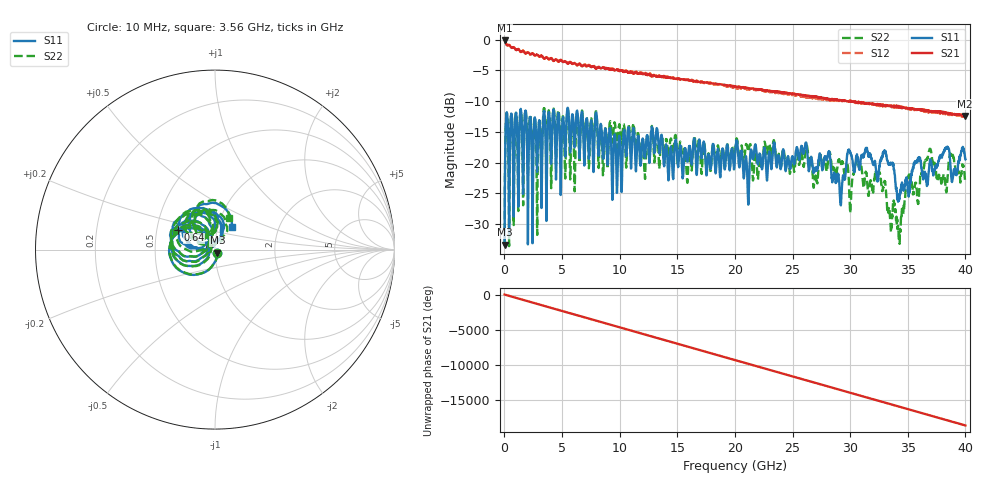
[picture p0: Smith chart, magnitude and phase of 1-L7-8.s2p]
! 2/21/2025 7:00:03 AM
! Z:\OQC\AD5\613\LOT-141-0825\SINGLE\1-L7-8.S2P
! CHANNEL.1
! TR.MEASUREMENT
! CORRECTED.DATA
! RF.CORRECTION: FULL.FOUR.PORT.CAL.PORT.1.2.3.4
! AVERAGING.OFF
! IF.BANDWIDTH: 1KHZ
! SWEEPTYPE:  FREQ.SWEEP(Linear)
! Reference Plane Port Info
! PORT:  PORT1  PORT2
! DISTANCE:  0  m  0  m
! TIME:  0  s  0  s
! PHASE.OFFSET:  0 °  0 °
! LOSS:  0  dB  0  dB
! REF.LOSS:  0  dB  0  dB
! REF.FREQ:  0  Hz  0  Hz
! Power Info
! POWER:  -10  dBm  -10  dBm
! EFF.POWER:  -10  dBm  -10  dBm
! SOURCE.ATTEN:  0  dB  0  dB
! TEST.ATTEN:  0  dB  0  dB
# GHZ S RI R 50.0
! FREQ.GHZ  S11RE  S11IM  S21RE  S21IM  S12RE  S12IM  S22RE  S22IM
!; PortSelection: Port_12
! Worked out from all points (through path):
!   4000 points, 10 MHz to 40 GHz, reference 50 ohm
!   highest |S21| = -0.13 dB at 10 MHz (marker M1); lowest = -12.4 dB at 39.93 GHz (marker M2)
!   group delay of S21, straight-line fit = 1.29 ns
!   lowest |S11| = -33.4 dB at 10 MHz (marker M3), VSWR 1.04, Z = 51.3 - j1.75 ohm
!   |S11| at or under -10 dB: start of sweep to end of sweep
!   |S22| runs from -33.6 to -11.2 dB; largest |S21 - S12| = 0.021
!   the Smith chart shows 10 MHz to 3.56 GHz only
!   S11 on the Smith chart (normalised r, x): 10 MHz: 1.03, -0.04; 640 MHz: 0.64, +0.15; 3.56 GHz: 1.16, +0.30
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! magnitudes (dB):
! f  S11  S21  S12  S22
! 10 MHz  -33.4  -0.1  -0.1  -33.3
! 180 MHz  -12.0  -0.8  -0.8  -12.0
! 640 MHz  -12.6  -1.4  -1.3  -12.5
! 2.97 GHz  -13.8  -2.7  -2.7  -14.0
! 3.56 GHz  -16.0  -2.9  -2.9  -14.3
! 6.68 GHz  -11.9  -4.3  -4.2  -11.8
! 9.55 GHz  -15.4  -5.0  -4.9  -13.5
! 13.34 GHz  -16.2  -6.0  -6.0  -17.3
! 20.01 GHz  -18.9  -7.7  -7.8  -18.5
! 21.06 GHz  -21.6  -7.9  -8.0  -17.5
! 26.67 GHz  -19.6  -9.2  -9.4  -20.1
! 28.09 GHz  -18.4  -9.7  -9.7  -19.6
! 29.19 GHz  -27.0  -9.9  -9.9  -20.3
! 29.92 GHz  -18.1  -10.1  -10.0  -24.9
! 32.38 GHz  -23.0  -10.6  -10.5  -22.0
! 33.34 GHz  -20.2  -10.8  -10.8  -27.4
! 34.25 GHz  -25.8  -11.0  -11.1  -31.7
! 35 GHz  -24.7  -11.2  -11.2  -22.1
! 35.86 GHz  -19.8  -11.3  -11.4  -26.4
! 36.89 GHz  -20.3  -11.6  -11.9  -17.9
! 39.93 GHz  -18.5  -12.4  -12.4  -21.9
! 40 GHz  -19.5  -12.4  -12.4  -23.2
